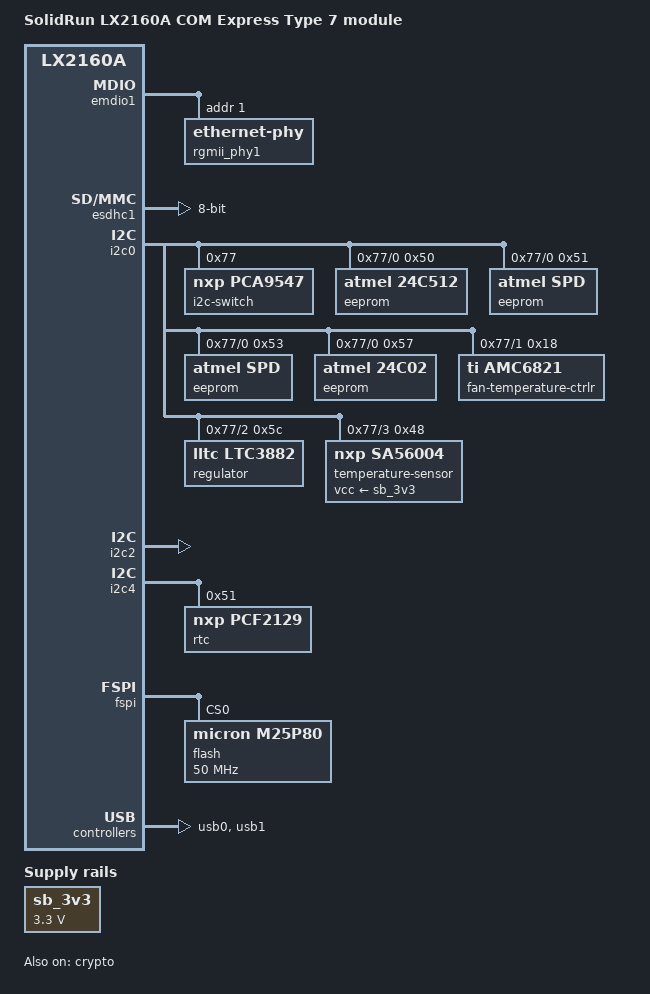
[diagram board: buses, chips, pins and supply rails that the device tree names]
// SPDX-License-Identifier: (GPL-2.0 OR MIT)
//
// Device Tree file for LX2160A-CEx7
//
// Copyright 2019 SolidRun Ltd.

/dts-v1/;

#include "fsl-lx2160a.dtsi"

/ {
	model = "SolidRun LX2160A COM Express Type 7 module";
	compatible = "solidrun,lx2160a-cex7", "fsl,lx2160a";

	aliases {
		crypto = &crypto;
	};

	sb_3v3: regulator-sb3v3 {
		compatible = "regulator-fixed";
		regulator-name = "RT7290";
		regulator-min-microvolt = <3300000>;
		regulator-max-microvolt = <3300000>;
		regulator-boot-on;
		regulator-always-on;
	};
};

&crypto {
	status = "okay";
};

&dpmac17 {
	phy-handle = <&rgmii_phy1>;
	phy-connection-type = "rgmii-id";
};

&emdio1 {
	status = "okay";

	rgmii_phy1: ethernet-phy@1 {
		reg = <1>;
		qca,smarteee-tw-us-1g = <24>;
	};
};

&esdhc1 {
	mmc-hs200-1_8v;
	mmc-hs400-1_8v;
	bus-width = <8>;
	status = "okay";
};

&i2c0 {
	status = "okay";

	i2c-switch@77 {
		compatible = "nxp,pca9547";
		#address-cells = <1>;
		#size-cells = <0>;
		reg = <0x77>;

		i2c@0 {
			#address-cells = <1>;
			#size-cells = <0>;
			reg = <0>;

			eeprom@50 {
				compatible = "atmel,24c512";
				reg = <0x50>;
			};

			eeprom@51 {
				compatible = "atmel,spd";
				reg = <0x51>;
			};

			eeprom@53 {
				compatible = "atmel,spd";
				reg = <0x53>;
			};

			eeprom@57 {
				compatible = "atmel,24c02";
				reg = <0x57>;
			};
		};

		i2c@1 {
			#address-cells = <1>;
			#size-cells = <0>;
			reg = <1>;

			fan-temperature-ctrlr@18 {
				compatible = "ti,amc6821";
				reg = <0x18>;
				cooling-min-state = <0>;
				cooling-max-state = <9>;
				#cooling-cells = <2>;
			};
		};

		i2c@2 {
			#address-cells = <1>;
			#size-cells = <0>;
			reg = <2>;

			regulator@5c {
				compatible = "lltc,ltc3882";
				reg = <0x5c>;
			};
		};

		i2c@3 {
			#address-cells = <1>;
			#size-cells = <0>;
			reg = <3>;

			temperature-sensor@48 {
				compatible = "nxp,sa56004";
				reg = <0x48>;
				vcc-supply = <&sb_3v3>;
			};
		};

		sfp0_i2c: i2c@4 {
			#address-cells = <1>;
			#size-cells = <0>;
			reg = <4>;
		};

		sfp1_i2c: i2c@5 {
			#address-cells = <1>;
			#size-cells = <0>;
			reg = <5>;
		};

		sfp2_i2c: i2c@6 {
			#address-cells = <1>;
			#size-cells = <0>;
			reg = <6>;
		};

		sfp3_i2c: i2c@7 {
			#address-cells = <1>;
			#size-cells = <0>;
			reg = <7>;
		};
	};
};

&i2c2 {
	status = "okay";
};

&i2c4 {
	status = "okay";

	rtc@51 {
		compatible = "nxp,pcf2129";
		reg = <0x51>;
	};
};

&fspi {
	status = "okay";

	flash@0 {
		#address-cells = <1>;
		#size-cells = <1>;
		compatible = "micron,m25p80";
		m25p,fast-read;
		spi-max-frequency = <50000000>;
		reg = <0>;
		/* The following setting enables 1-1-8 (CMD-ADDR-DATA) mode */
		spi-rx-bus-width = <8>;
		spi-tx-bus-width = <1>;
	};
};

&usb0 {
	status = "okay";
};

&usb1 {
	status = "okay";
};
